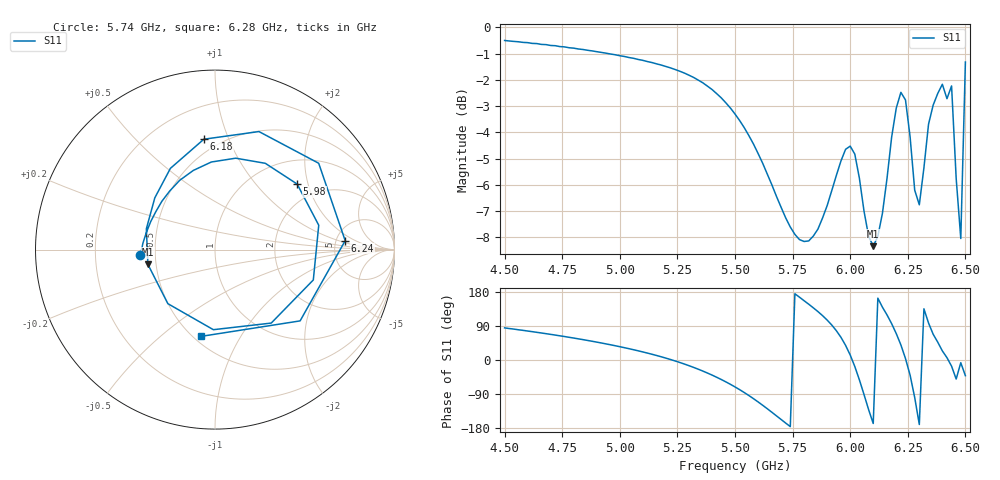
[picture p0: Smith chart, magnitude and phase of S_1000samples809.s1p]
! TOUCHSTONE file generated by CST MICROWAVE STUDIO
! Date and time: Sat Oct 29 11:24:52 2022
! Project name: L.cst
! Parameters = {Di=1.27; Epsilon_r=1.56; InnerDiameter=1.27; Length=2; Lf=10; Lg=60; OuterConductorThickness=0.2921; OuterDiameter=3.6; Wf=3; Wp=41.2; de=1.5; df=6.8; g=0.8; gx=3.93012; gy=2.38608; h=2.34; hf=1.524; px=11.014; py=14.0241; w=9.7; wx=7.08389; wy=11.6381}
! Header version: 2018
! Port assignment regex: !\s*Touchstone port\s*([0-9]+)\s*=\s*(CST MWS port|CST DS port)\s*([0-9]+|Zmin|Zmax)\s*\(\"(.*)\"\)(\s*mode\s*([0-9]+))?.*
! Touchstone port assignment:
! Touchstone port 1 = CST MWS port 1 ("")
# GHz S DB R 50
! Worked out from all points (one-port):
!   101 points, 4.5 GHz to 6.5 GHz, reference 50 ohm
!   lowest |S11| = -8.3 dB at 6.1 GHz (marker M1), VSWR 2.24, Z = 22.5 - j4.35 ohm
!   |S11| at or under -10 dB: nowhere
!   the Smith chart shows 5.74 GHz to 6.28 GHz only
!   S11 on the Smith chart (normalised r, x): 5.74 GHz: 0.41, -0.03; 5.98 GHz: 1.54, +1.71; 6.18 GHz: 0.41, +0.82; 6.24 GHz: 6.05, +1.28; 6.28 GHz: 0.55, -0.69
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4.5  -0.50 84.8
4.76  -0.74 61.9
5  -1.08 35.1
5.26  -1.67 -6.5
5.5  -3.30 -71.0
5.64  -5.59 -128.5
5.74  -7.61 -175.8
5.76  -7.89 174.8
5.9  -6.80 105.3
5.98  -4.65 38.6
6  -4.53 13.2
6.04  -5.76 -52.6
6.06  -7.01 -91.2
6.1  -8.34 -167.6
6.18  -4.18 95.8
6.22  -2.48 39.8
6.24  -2.77 3.9
6.26  -4.17 -40.0
6.28  -6.21 -99.0
6.3  -6.76 -170.3
6.32  -5.36 135.0
6.34  -3.69 97.7
6.36  -2.97 68.1
6.4  -2.17 24.0
6.44  -2.23 -16.3
6.46  -5.76 -50.2
6.48  -8.05 -7.2
6.5  -1.32 -41.4
